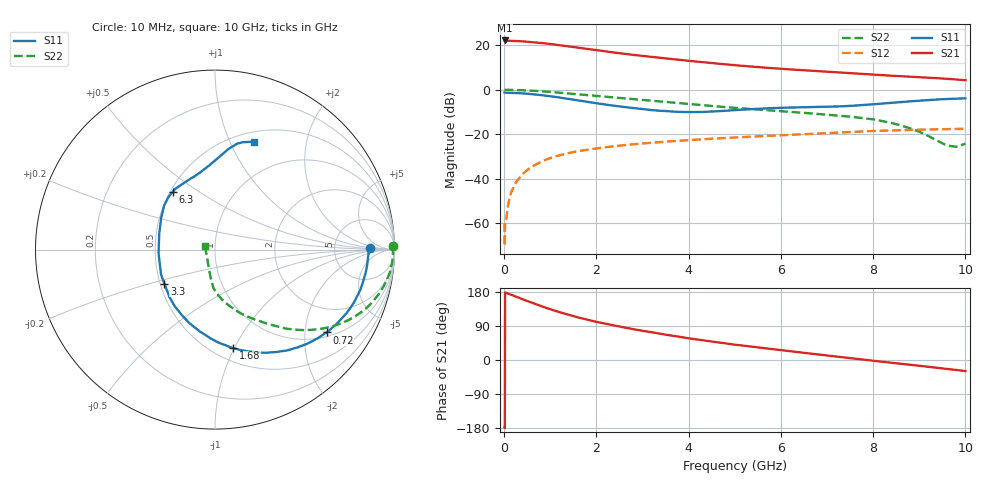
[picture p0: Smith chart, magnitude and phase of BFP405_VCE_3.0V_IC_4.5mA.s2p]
! Infineon Technologies  Discrete & RF Semiconductors
! BFP405
! VCE =  3.0 V,  IC =  4.5 mA
! Common Emitter S-Parameters:  Jan 2016
# GHz  S  MA  R  50
!  f  S11  S21  S12  S22
! GHz  MAG  ANG  MAG  ANG  MAG  ANG  MAG  ANG
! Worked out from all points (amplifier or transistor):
!   233 points, 10 MHz to 10 GHz, reference 50 ohm
!   highest |S21| = 22.2 dB at 10 MHz (marker M1)
!   |S21| within 3 dB of that: start of sweep to 1.514 GHz
!   unconditionally stable (mu >= 1): 13.58 MHz to 16.17 MHz; 3.547 GHz to end of sweep
!   at 200 MHz: K = 0.09, MSG = 33.1 dB, |S12| = -44.2 dB
!   at 1.74 GHz: K = 0.51, MSG = 22.9 dB, |S12| = -27.2 dB
!   at 10 GHz: K = 1.47, MAG = 6.9 dB, |S12| = -17.6 dB
!   S11 on the Smith chart (normalised r, x): 10 MHz: 14, +1; 720 MHz: 1.13, -2.59; 1.68 GHz: 0.62, -0.99; 3.3 GHz: 0.53, -0.23; 6.3 GHz: 0.52, +0.40; 10 GHz: 0.61, +1.24
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0.01  0.8644 0.7  12.85 -178.0  0.001 -57.7  0.9918 1.1
0.015  0.8606 -0.1  12.78 -179.9  0.0003 3.4  0.9903 0.6
0.02  0.857 -1.0  12.72 178.2  0.0009 80.0  0.9889 0.0
0.11  0.8523 -5.6  12.63 174.0  0.0034 84.3  0.9917 -2.6
0.24  0.8439 -12.4  12.54 167.9  0.0076 83.5  0.982 -5.9
0.45  0.8213 -23.2  12.17 157.9  0.014 78.7  0.9686 -10.8
0.72  0.7738 -36.6  11.52 145.7  0.0217 72.3  0.9344 -16.9
0.9  0.7363 -45.2  11.02 137.9  0.0264 68.5  0.9071 -20.7
1.1  0.6904 -54.5  10.41 129.9  0.0311 64.6  0.8738 -24.5
1.4  0.6202 -67.7  9.452 119.0  0.0375 59.5  0.8218 -29.6
1.68  0.5587 -79.4  8.615 109.9  0.0426 55.4  0.7744 -33.7
2  0.4963 -92.6  7.75 100.7  0.0478 51.4  0.724 -37.8
2.4  0.4343 -109.1  6.839 90.5  0.0536 47.3  0.6665 -42.3
2.86  0.3802 -127.8  5.991 80.1  0.0598 43.3  0.6061 -46.9
3.3  0.3397 -146.0  5.327 71.2  0.0652 39.6  0.5521 -50.9
3.4  0.3344 -150.5  5.194 69.1  0.0665 38.8  0.5402 -51.9
4  0.3152 -176.6  4.478 57.2  0.0734 34.4  0.4751 -57.6
5.1  0.3527 147.2  3.493 39.1  0.085 26.9  0.3839 -67.8
6.3  0.3988 125.9  2.823 21.9  0.0978 19.7  0.3122 -77.2
6.8  0.408 116.6  2.613 14.7  0.1037 16.5  0.2847 -81.3
8.4  0.5084 88.4  2.066 -7.3  0.121 4.0  0.1781 -96.2
10  0.6401 70.0  1.636 -29.1  0.132 -7.7  0.0607 159.5
